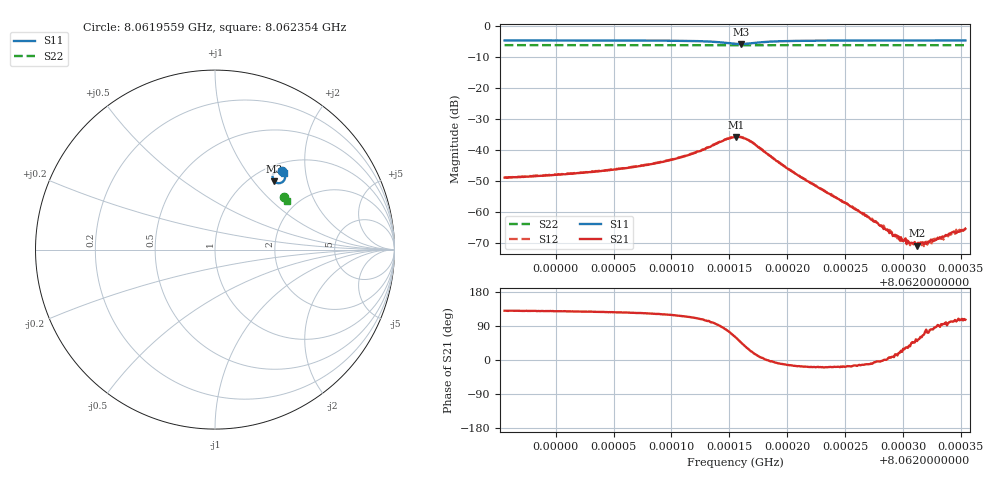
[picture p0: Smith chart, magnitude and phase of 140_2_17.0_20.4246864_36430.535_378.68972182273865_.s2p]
#  HZ  S  RI  R  50.00
! Rohde & Schwarz Vector Network Analyzer
! Rohde-Schwarz,ZNB20-2Port,1311601062101988,3.16
! Created: UTC 3/20/2024, 10:58:18 PM
! freq[Hz]  re:S11  im:S11  re:S21  im:S21  re:S12  im:S12  re:S22  im:S22
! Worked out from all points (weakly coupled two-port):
!   401 points, 8.0619559 GHz to 8.062354 GHz, reference 50 ohm
!   highest |S21| = -35.84 dB at 8.0621559 GHz (marker M1); lowest = -70.8 dB at 8.0623122 GHz (marker M2)
!   lowest |S11| = -5.9 dB at 8.0621599 GHz (marker M3), VSWR 3.03, Z = 63.1 + j64.2 ohm
!   |S11| at or under -10 dB: nowhere
!   |S22| runs from -6.4 to -6.3 dB; largest |S21 - S12| = 0.0012
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8.06195586e9  0.3734 0.438  -0.00229 0.00272  -0.00215 0.0029  0.3867 0.2912
8.06202255e9  0.3794 0.4324  -0.00261 0.00337  -0.00245 0.00355  0.389 0.2879
8.06206038e9  0.3834 0.4272  -0.00294 0.00415  -0.00269 0.00436  0.3903 0.2857
8.06208924e9  0.3871 0.4209  -0.00324 0.00529  -0.00294 0.00559  0.3913 0.2842
8.06211811e9  0.3907 0.4074  -0.00325 0.008  -0.00279 0.00827  0.3921 0.2821
8.06214698e9  0.3708 0.3734  0.00237 0.0144  0.00333 0.0145  0.3917 0.2797
8.06215494e9  0.3469 0.3711  0.00753 0.014  0.00871 0.0137  0.3909 0.2796
8.06215593e9  0.3434 0.3721  0.00839 0.0138  0.0094 0.0133  0.3908 0.2797
8.06215991e9  0.3314 0.3799  0.0109 0.0116  0.0117 0.0111  0.3906 0.2801
8.06216887e9  0.3209 0.4073  0.0124 0.0052  0.0128 0.0045  0.3908 0.2809
8.06219873e9  0.3511 0.4395  0.0051 -0.00108  0.00508 -0.00141  0.3933 0.2805
8.06222163e9  0.3636 0.4391  0.0027 -0.000911  0.00266 -0.00105  0.3947 0.2793
8.06226841e9  0.375 0.4348  0.000844 -0.000168  0.000864 -0.000192  0.3966 0.2768
8.06228832e9  0.3779 0.4331  0.000452 5.67e-05  0.000512 1.94e-05  0.3974 0.2756
8.06229728e9  0.3788 0.4324  0.000328 0.000114  0.00038 0.000112  0.3977 0.2751
8.06230524e9  0.3798 0.4318  0.000252 0.000195  0.000244 0.000218  0.3978 0.2747
8.06231221e9  0.3806 0.4314  0.000185 0.00022  0.000172 0.000232  0.3981 0.2743
8.06232316e9  0.3816 0.4305  6.46e-05 0.000322  7.37e-05 0.000307  0.3983 0.2738
8.06232813e9  0.3822 0.4302  2.41e-05 0.000352  4.01e-05 0.000366  0.3987 0.2735
8.0623351e9  0.3829 0.4297  -3.9e-05 0.000397  -2.81e-05 0.000359  0.3988 0.2731
8.06234406e9  0.3837 0.4291  -0.0001 0.000474  -8.12e-05 0.000487  0.3993 0.2727
8.06235401e9  0.3845 0.4284  -0.000151 0.000512  -0.000145 0.000507  0.3995 0.2723
